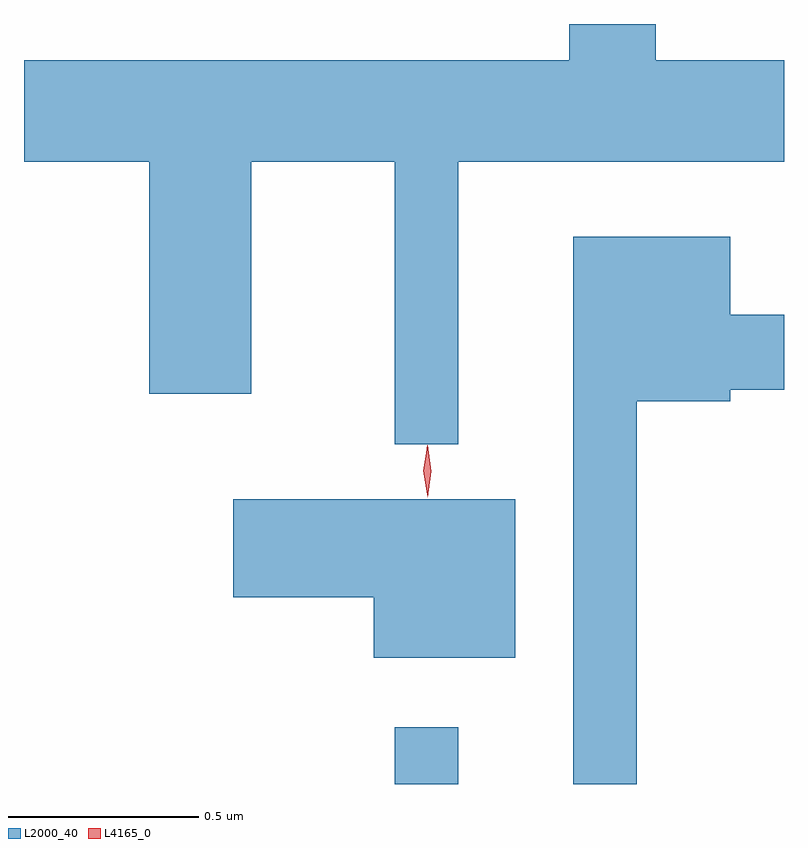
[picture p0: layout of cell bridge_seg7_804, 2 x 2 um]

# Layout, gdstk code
import gdstk
lib = gdstk.Library(unit=1e-6, precision=1e-09)
def R(c, l, rs):  # rectangles x0, y0, x1, y1
    for r in rs: c.add(gdstk.rectangle(r[:2], r[2:], *l))
def P(c, l, *ps):  # polygons
    for p in ps: c.add(gdstk.Polygon(p, *l))
L2000_40 = (2000, 40)
L4165_0 = (4165, 0)

bridge_seg7_804 = lib.new_cell('bridge_seg7_804')
R(bridge_seg7_804, L2000_40, [(255.681,1748.199,255.849,1748.348)])
P(bridge_seg7_804, L2000_40, [(255.849,1749.836),(256.706,1749.836),(256.706,1750.104),(256.369,1750.104),(256.369,1750.199),(256.141,1750.199),(256.141,1750.104),(254.706,1750.104),(254.706,1749.836),(255.036,1749.836),(255.036,1749.226),(255.304,1749.226),(255.304,1749.836),(255.681,1749.836),(255.681,1749.093),(255.849,1749.093)],
  [(256.319,1749.206),(256.564,1749.206),(256.564,1749.236),(256.706,1749.236),(256.706,1749.434),(256.564,1749.434),(256.564,1749.639),(256.151,1749.639),(256.151,1748.199),(256.319,1748.199)],
  [(255.999,1748.949),(255.256,1748.949),(255.256,1748.691),(255.626,1748.691),(255.626,1748.531),(255.999,1748.531)])
P(bridge_seg7_804, L4165_0, [(255.768,1748.954),(255.768,1748.954),(255.758,1749.022),(255.767,1749.09),(255.767,1749.09),(255.768,1749.09),(255.778,1749.022),(255.769,1748.954)],
  [(255.768,1748.96),(255.767,1748.961),(255.757,1749.023),(255.767,1749.086),(255.767,1749.087),(255.768,1749.086),(255.777,1749.024),(255.768,1748.961)])

lib.write_gds('bridge_seg7_804.gds')
